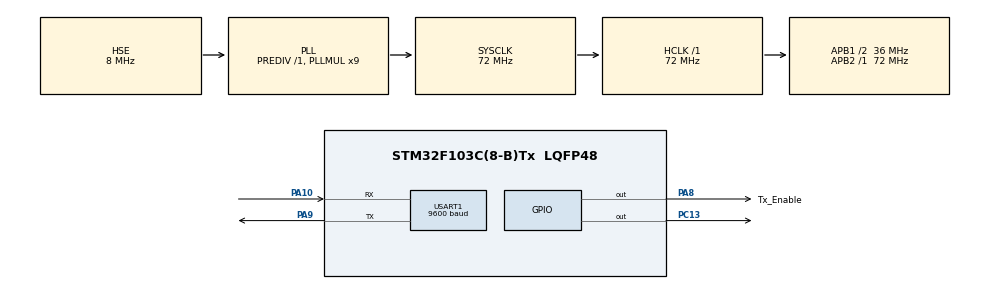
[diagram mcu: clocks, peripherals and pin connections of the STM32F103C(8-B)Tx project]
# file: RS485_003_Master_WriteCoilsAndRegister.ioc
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Mcu.Family=STM32F1
Mcu.Name=STM32F103C(8-B)Tx
Mcu.Package=LQFP48
NVIC.PriorityGroup=NVIC_PRIORITYGROUP_4
NVIC.USART1_IRQn=true\:0\:0\:false\:false\:true\:true\:true\:true
PA10.Mode=Asynchronous
PA10.Signal=USART1_RX
PA13.Mode=Serial_Wire
PA13.Signal=SYS_JTMS-SWDIO
PA14.Mode=Serial_Wire
PA14.Signal=SYS_JTCK-SWCLK
PA8.GPIO_Label=Tx_Enable
PA8.Signal=GPIO_Output
PA9.Mode=Asynchronous
PA9.Signal=USART1_TX
PC13-TAMPER-RTC.Signal=GPIO_Output
PD0-OSC_IN.Mode=HSE-External-Oscillator
PD0-OSC_IN.Signal=RCC_OSC_IN
PD1-OSC_OUT.Mode=HSE-External-Oscillator
PD1-OSC_OUT.Signal=RCC_OSC_OUT
ProjectManager.HeapSize=0x200
ProjectManager.StackSize=0x400
ProjectManager.TargetToolchain=STM32CubeIDE
RCC.AHBFreq_Value=72000000
RCC.APB1CLKDivider=RCC_HCLK_DIV2
RCC.APB1Freq_Value=36000000
RCC.APB1TimFreq_Value=72000000
RCC.APB2Freq_Value=72000000
RCC.APB2TimFreq_Value=72000000
RCC.HCLKFreq_Value=72000000
RCC.PLLMUL=RCC_PLL_MUL9
RCC.PLLSourceVirtual=RCC_PLLSOURCE_HSE
RCC.SYSCLKFreq_VALUE=72000000
RCC.SYSCLKSource=RCC_SYSCLKSOURCE_PLLCLK
RCC.USBFreq_Value=72000000
USART1.BaudRate=9600
USART1.VirtualMode=VM_ASYNC
board=custom

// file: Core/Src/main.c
/* USER CODE BEGIN Header */
/**
  ******************************************************************************
  * @file           : main.c
  * @brief          : Main program body
  ******************************************************************************
  * @attention
  *
  * Copyright (c) 2023 STMicroelectronics.
  * All rights reserved.
  *
  * This software is licensed under terms that can be found in the LICENSE file
  * in the root directory of this software component.
  * If no LICENSE file comes with this software, it is provided AS-IS.
  *
  ******************************************************************************
  */
/* USER CODE END Header */
#include "main.h"

UART_HandleTypeDef huart1;

void SystemClock_Config(void);
static void MX_GPIO_Init(void);
static void MX_USART1_UART_Init(void);

/* USER CODE BEGIN 0 */
#include "modbus_crc.h"

uint8_t RxData[30];
uint8_t TxData[15];
uint16_t data;
void HAL_UARTEx_RxEventCallback(UART_HandleTypeDef *huart, uint16_t Size)
{
//	data = (RxData[4] << 8) |  RxData[5];
//	if(data == 0xFF00) HAL_GPIO_WritePin(GPIOC, GPIO_PIN_13, 0);
//	else if (data == 0) HAL_GPIO_WritePin(GPIOC, GPIO_PIN_13, 1);
}

void sendData(uint8_t *data)
{
	HAL_GPIO_WritePin(Tx_Enable_GPIO_Port, Tx_Enable_Pin, GPIO_PIN_SET);
	HAL_UART_Transmit(&huart1, data, 15, 1000);
	HAL_GPIO_WritePin(Tx_Enable_GPIO_Port, Tx_Enable_Pin, GPIO_PIN_RESET);
}

/* USER CODE END 0 */

int main(void)
{

  /* MCU Configuration--------------------------------------------------------*/

  /* Reset of all peripherals, Initializes the Flash interface and the Systick. */
  HAL_Init();

  /* Configure the system clock */
  SystemClock_Config();

  /* Initialize all configured peripherals */
  MX_GPIO_Init();
  MX_USART1_UART_Init();
  /* USER CODE BEGIN 2 */

  HAL_UARTEx_ReceiveToIdle_IT(&huart1, RxData, 32);
  /*
  Prepare data transmit single coil or register to slave
  || Slave ID 1byte || function Code 1byte|| Add wanna Write High 1byte|| Addr wanna write Low || Value High || Value Low || CRC Low || CRC High
  if data 0xFF00 -> write 1
  if data 0x0000 -> write 0
  */
  /*
  TxData[0] = 0x05;
  TxData[1] = 0x06;// Write single coil function code 0x05
                   // Write single Register function code 0x06

  TxData[2] = 0x00;// Addr wanna write High
  TxData[3] = 0x00;// Addr wanna write Low
  TxData[4] = 0x12; //Value High
  TxData[5] = 0x34; //Value Low

  uint16_t crc = crc16(TxData, 6);

  TxData[6] = crc & 0xFF;
  TxData[7] = (crc >> 8 ) & 0xFF;

  sendData(TxData);
  */

  /*
   * Write mutiple coilsm FC: 0x15, up to 1968 contigous memory bits
   * Write mutiple register FC: 0x16, up to 123 contiguous memory WORDs
   || Slave ID || Function code || Start Add || Number of coils wanna write || Number of byte will send to slave || Data || CRC Low || CRC High
       1byte		1byte			2byte						2byte					1byte						nbyte	1byte        1byte
       if we want to write 16 coils
        Number of coils wanna write : 15 ( 2 byte)
        Number of byte will send to slave : 2

        Data 0xFF01
        1  1  1  1  1  1  1  1  0  0  0  0  0  0  0  1
        coil 16 -> coil 1

     Data response from slave:
       || Slave ID || Function code || Start Add || Number of coils modify || CRC Low || CRC High
            1byte		 1byte			 2byte            2byte				   1byte		 1byte
		// Example for write mutiple coils
		      TxData[0] = 0x05;
			  TxData[1] = 0x0F;

			  TxData[2] = 0x00;
			  TxData[3] = 0x00;

			  TxData[4] = 0x00;
			  TxData[5] = 16;

			  TxData[6] = 2;
			  TxData[7] = 0x01;
			  TxData[8] = 0xFF;
			 // CRC number  =  9 bit trước đó
			  uint16_t crc = crc16(TxData, 9);
			  TxData[9] = crc & 0xFF;
			  TxData[10] = ( crc >> 8 ) & 0xFF;
			  sendData(TxData);
    */
  TxData[0] = 0x05;
  TxData[1] = 0x10;

  TxData[2] = 0x00;
  TxData[3] = 0x00;

  TxData[4] = 0x00;
  TxData[5] = 3;

  TxData[6] = 6;

  TxData[7] = 0x01;   // Register 1 High byte
  TxData[8] = 0xFF;   // Register 1 Low byte
  TxData[9] = 0x12;   // Register 2 High byte
  TxData[10] = 0x34;  // Register 2 Low byte
  TxData[11] = 0xAB;  // Register 3 High byte
  TxData[12] = 0xCD;  // Register 3 Low byte

  uint16_t crc = crc16(TxData, 13);
  TxData[13] = crc & 0xFF;
  TxData[14] = ( crc >> 8 ) & 0xFF;
  sendData(TxData);

  /* USER CODE END 2 */

  /* Infinite loop */
  while (1)
  {

  }
}

void SystemClock_Config(void)
{
  RCC_OscInitTypeDef RCC_OscInitStruct = {0};
  RCC_ClkInitTypeDef RCC_ClkInitStruct = {0};

  /** Initializes the RCC Oscillators according to the specified parameters
  * in the RCC_OscInitTypeDef structure.
  */
  RCC_OscInitStruct.OscillatorType = RCC_OSCILLATORTYPE_HSE;
  RCC_OscInitStruct.HSEState = RCC_HSE_ON;
  RCC_OscInitStruct.HSEPredivValue = RCC_HSE_PREDIV_DIV1;
  RCC_OscInitStruct.HSIState = RCC_HSI_ON;
  RCC_OscInitStruct.PLL.PLLState = RCC_PLL_ON;
  RCC_OscInitStruct.PLL.PLLSource = RCC_PLLSOURCE_HSE;
  RCC_OscInitStruct.PLL.PLLMUL = RCC_PLL_MUL9;
  if (HAL_RCC_OscConfig(&RCC_OscInitStruct) != HAL_OK)
  {
    Error_Handler();
  }

  /** Initializes the CPU, AHB and APB buses clocks
  */
  RCC_ClkInitStruct.ClockType = RCC_CLOCKTYPE_HCLK|RCC_CLOCKTYPE_SYSCLK
                              |RCC_CLOCKTYPE_PCLK1|RCC_CLOCKTYPE_PCLK2;
  RCC_ClkInitStruct.SYSCLKSource = RCC_SYSCLKSOURCE_PLLCLK;
  RCC_ClkInitStruct.AHBCLKDivider = RCC_SYSCLK_DIV1;
  RCC_ClkInitStruct.APB1CLKDivider = RCC_HCLK_DIV2;
  RCC_ClkInitStruct.APB2CLKDivider = RCC_HCLK_DIV1;

  if (HAL_RCC_ClockConfig(&RCC_ClkInitStruct, FLASH_LATENCY_2) != HAL_OK)
  {
    Error_Handler();
  }
}

static void MX_USART1_UART_Init(void)
{

  huart1.Instance = USART1;
  huart1.Init.BaudRate = 9600;
  huart1.Init.WordLength = UART_WORDLENGTH_8B;
  huart1.Init.StopBits = UART_STOPBITS_1;
  huart1.Init.Parity = UART_PARITY_NONE;
  huart1.Init.Mode = UART_MODE_TX_RX;
  huart1.Init.HwFlowCtl = UART_HWCONTROL_NONE;
  huart1.Init.OverSampling = UART_OVERSAMPLING_16;
  if (HAL_UART_Init(&huart1) != HAL_OK)
  {
    Error_Handler();
  }

}

static void MX_GPIO_Init(void)
{
  GPIO_InitTypeDef GPIO_InitStruct = {0};

  /* GPIO Ports Clock Enable */
  __HAL_RCC_GPIOC_CLK_ENABLE();
  __HAL_RCC_GPIOD_CLK_ENABLE();
  __HAL_RCC_GPIOA_CLK_ENABLE();

  /*Configure GPIO pin Output Level */
  HAL_GPIO_WritePin(GPIOC, GPIO_PIN_13, GPIO_PIN_RESET);

  /*Configure GPIO pin Output Level */
  HAL_GPIO_WritePin(Tx_Enable_GPIO_Port, Tx_Enable_Pin, GPIO_PIN_RESET);

  /*Configure GPIO pin : PC13 */
  GPIO_InitStruct.Pin = GPIO_PIN_13;
  GPIO_InitStruct.Mode = GPIO_MODE_OUTPUT_PP;
  GPIO_InitStruct.Pull = GPIO_NOPULL;
  GPIO_InitStruct.Speed = GPIO_SPEED_FREQ_LOW;
  HAL_GPIO_Init(GPIOC, &GPIO_InitStruct);

  /*Configure GPIO pin : Tx_Enable_Pin */
  GPIO_InitStruct.Pin = Tx_Enable_Pin;
  GPIO_InitStruct.Mode = GPIO_MODE_OUTPUT_PP;
  GPIO_InitStruct.Pull = GPIO_NOPULL;
  GPIO_InitStruct.Speed = GPIO_SPEED_FREQ_LOW;
  HAL_GPIO_Init(Tx_Enable_GPIO_Port, &GPIO_InitStruct);

}

void Error_Handler(void)
{
  __disable_irq();
  while (1)
  {
  }
}
